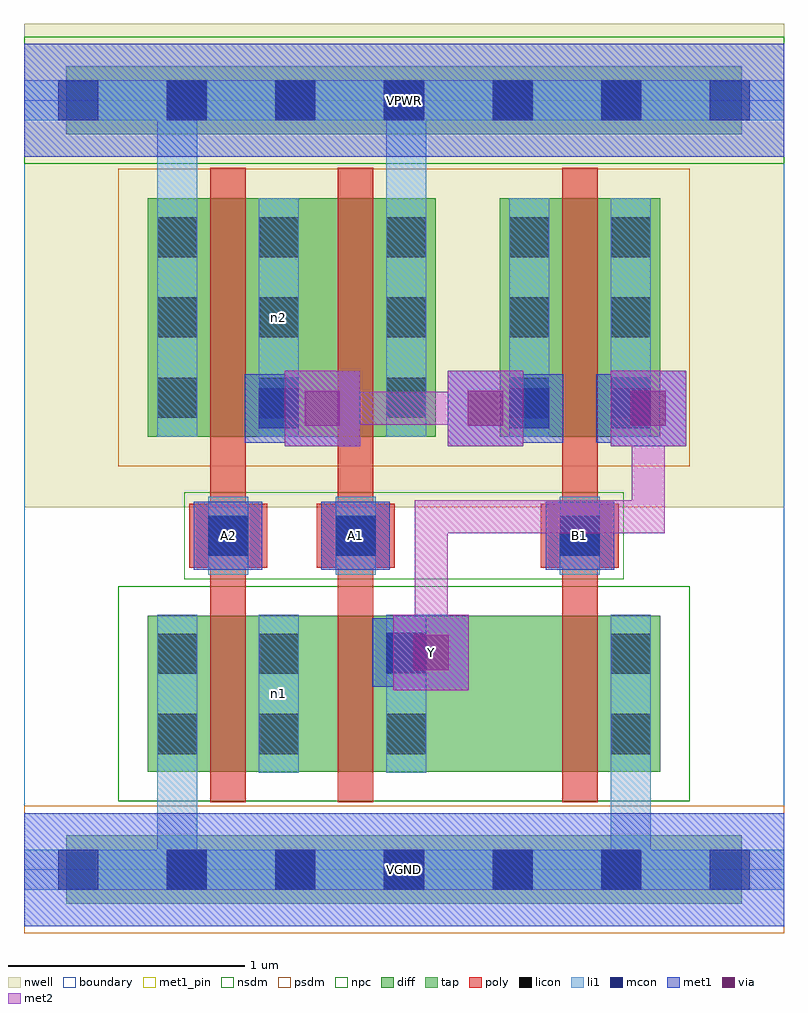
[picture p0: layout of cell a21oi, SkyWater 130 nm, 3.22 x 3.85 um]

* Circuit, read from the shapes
.subckt a21oi A1 A2 B1 VGND VPWR Y n1 n2
XM1 n1 A2 VGND VGND sky130_fd_pr__nfet_01v8 w=0.66 l=0.15
XM2 Y A1 n1 VGND sky130_fd_pr__nfet_01v8 w=0.66 l=0.15
XM3 VGND B1 Y VGND sky130_fd_pr__nfet_01v8 w=0.66 l=0.15
XM4 n2 A2 VPWR VPWR sky130_fd_pr__pfet_01v8 w=1.01 l=0.15
XM5 VPWR A1 n2 VPWR sky130_fd_pr__pfet_01v8 w=1.01 l=0.15
XM6 Y B1 n2 VPWR sky130_fd_pr__pfet_01v8 w=1.01 l=0.15
.ends

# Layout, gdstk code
import gdstk
lib = gdstk.Library(unit=1e-6, precision=1e-09)
def R(c, l, rs):  # rectangles x0, y0, x1, y1
    for r in rs: c.add(gdstk.rectangle(r[:2], r[2:], *l))
def A(c, l, x, y, w, h, nx, ny, dx, dy):  # array of equal rectangles
    R(c, l, [(x+i*dx, y+j*dy, x+i*dx+w, y+j*dy+h) for i in range(nx) for j in range(ny)])
nwell = (64, 20)
diff = (65, 20)
tap = (65, 44)
poly = (66, 20)
licon = (66, 44)
li1 = (67, 20)
mcon = (67, 44)
met1_pin = (68, 16)
met1 = (68, 20)
via = (68, 44)
met2 = (69, 20)
nsdm = (93, 44)
psdm = (94, 20)
npc = (95, 20)
boundary = (235, 4)

a21oi = lib.new_cell('a21oi')
R(a21oi, nwell, [(0,1.535,3.22,3.585)])
R(a21oi, diff, [(0.525,0.415,2.695,1.075), (0.525,1.835,1.745,2.845), (2.015,1.835,2.695,2.845)])
R(a21oi, tap, [(0.18,-0.145,3.04,0.145), (0.18,3.115,3.04,3.405)])
R(a21oi, poly, [(0.79,0.285,0.94,2.975), (1.33,0.285,1.48,2.975), (2.28,0.285,2.43,2.975), (0.7,1.28,1.03,1.55), (1.24,1.28,1.57,1.55), (2.19,1.28,2.52,1.55)])
A(a21oi, licon, 0.605, -0.085, 0.17, 0.17, 5, 2, 0.46, 3.26)
A(a21oi, licon, 0.565, 1.915, 0.17, 0.17, 1, 3, 0, 0.34)
A(a21oi, licon, 0.995, 1.915, 0.17, 0.17, 1, 3, 0, 0.34)
A(a21oi, licon, 1.535, 1.915, 0.17, 0.17, 1, 3, 0, 0.34)
A(a21oi, licon, 2.055, 1.915, 0.17, 0.17, 1, 3, 0, 0.34)
A(a21oi, licon, 2.485, 1.915, 0.17, 0.17, 1, 3, 0, 0.34)
R(a21oi, licon, [(0.565,0.49,0.735,0.66), (0.995,0.49,1.165,0.66), (1.535,0.49,1.705,0.66), (2.485,0.49,2.655,0.66), (0.565,0.83,0.735,1), (0.995,0.83,1.165,1), (1.535,0.83,1.705,1), (2.485,0.83,2.655,1), (0.78,1.33,0.95,1.5), (1.32,1.33,1.49,1.5), (2.27,1.33,2.44,1.5)])
R(a21oi, li1, [(0,-0.085,3.22,0.085), (0.565,-0.085,0.735,1.08), (2.485,-0.085,2.655,1.08), (0.565,0.41,0.735,1.08), (0.995,0.41,1.165,1.08), (1.535,0.41,1.705,1.08), (2.485,0.41,2.655,1.08), (0.78,1.25,0.95,1.58), (1.32,1.25,1.49,1.58), (2.27,1.25,2.44,1.58), (0.565,1.835,0.735,2.845), (0.565,1.835,0.735,3.345), (0.995,1.835,1.165,2.845), (1.535,1.835,1.705,2.845), (1.535,1.835,1.705,3.345), (2.055,1.835,2.225,2.845), (2.485,1.835,2.655,2.845), (0,3.175,3.22,3.345)])
A(a21oi, mcon, 0.145, -0.085, 0.17, 0.17, 7, 2, 0.46, 3.26)
R(a21oi, mcon, [(1.535,0.835,1.705,1.005), (0.78,1.33,0.95,1.5), (1.32,1.33,1.49,1.5), (2.27,1.33,2.44,1.5), (0.995,1.87,1.165,2.04), (2.055,1.87,2.225,2.04), (2.485,1.87,2.655,2.04)])
R(a21oi, met1_pin, [(0,-0.24,3.22,0.24), (1.565,0.76,1.885,1.08), (0.72,1.27,1.01,1.56), (1.26,1.27,1.55,1.56), (2.21,1.27,2.5,1.56), (0,3.02,3.22,3.5)])
A(a21oi, met1, 1.105, 1.795, 0.32, 0.32, 3, 1, 0.69, 0)
R(a21oi, met1, [(0,-0.24,3.22,0.24), (1.565,0.76,1.885,1.08), (1.475,0.775,1.765,1.065), (1.55,0.85,1.795,0.99), (0.72,1.27,1.01,1.56), (1.26,1.27,1.55,1.56), (2.21,1.27,2.5,1.56), (0.935,1.81,1.225,2.1), (1.995,1.81,2.285,2.1), (2.425,1.81,2.715,2.1), (1.01,1.885,1.335,2.025), (1.885,1.885,2.21,2.025), (2.5,1.885,2.715,2.025), (0,3.02,3.22,3.5)])
A(a21oi, via, 1.19, 1.88, 0.15, 0.15, 3, 1, 0.69, 0)
R(a21oi, via, [(1.65,0.845,1.8,0.995)])
A(a21oi, met2, 1.105, 1.795, 0.32, 0.32, 3, 1, 0.69, 0)
R(a21oi, met2, [(1.565,0.76,1.885,1.08), (1.655,0.85,1.795,1.565), (1.655,1.425,2.715,1.565), (2.575,1.425,2.715,2.025), (1.195,1.885,2.025,2.025)])
R(a21oi, nsdm, [(0.4,0.29,2.82,1.2), (0,2.99,3.22,3.53)])
R(a21oi, psdm, [(0,-0.27,3.22,0.27), (0.4,1.71,2.82,2.97)])
R(a21oi, npc, [(0.68,1.23,2.54,1.6)])
R(a21oi, boundary, [(0,0,3.22,3.26)])
a21oi.add(gdstk.Label('n1', (1.08,0.745), layer=67, texttype=5))
a21oi.add(gdstk.Label('n2', (1.08,2.34), layer=67, texttype=5))
a21oi.add(gdstk.Label('A1', (1.405,1.415), layer=68, texttype=5))
a21oi.add(gdstk.Label('A2', (0.865,1.415), layer=68, texttype=5))
a21oi.add(gdstk.Label('B1', (2.355,1.415), layer=68, texttype=5))
a21oi.add(gdstk.Label('Y', (1.725,0.92), layer=68, texttype=5))
a21oi.add(gdstk.Label('VPWR', (1.61,3.26), layer=68, texttype=5))
a21oi.add(gdstk.Label('VGND', (1.61,0), layer=68, texttype=5))
a21oi.add(gdstk.Label('A1', (1.405,1.415), layer=68, texttype=16))
a21oi.add(gdstk.Label('A2', (0.865,1.415), layer=68, texttype=16))
a21oi.add(gdstk.Label('B1', (2.355,1.415), layer=68, texttype=16))
a21oi.add(gdstk.Label('Y', (1.725,0.92), layer=68, texttype=16))
a21oi.add(gdstk.Label('VPWR', (1.61,3.26), layer=68, texttype=16))
a21oi.add(gdstk.Label('VGND', (1.61,0), layer=68, texttype=16))

lib.write_gds('a21oi.gds')
